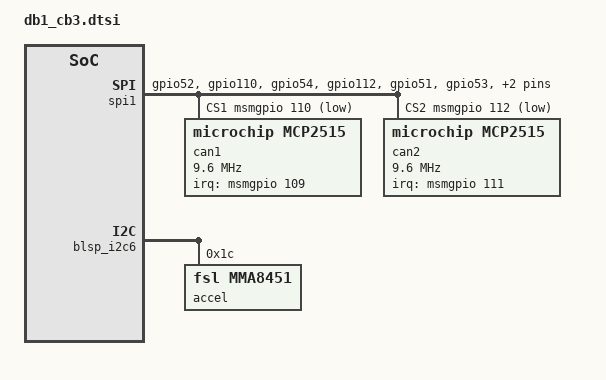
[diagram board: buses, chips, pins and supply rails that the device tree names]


/* CB3 expansion board on 50w connector */

/* interrupt pins for CAN ICs */
&msmgpio {

	/* CAN1 INT voltage shifter */
	can1_int_vs: can1_int_vs {
		pinmux {
			function = "gpio";
			pins = "gpio51";
		};
		pinconf {
			pins = "gpio51";
			drive-strength = <8>;
			output-low; /* B->A: low = input */
		};
	};

	/* CAN1 INT */
	can1_int: can1_int {
		pinmux {
			function = "gpio";
			pins = "gpio109";
		};
		pinconf {
			pins = "gpio109";
			drive-strength = <8>;
			input-enable;
			bias-pull-up;
		};
	};

	/* CAN1 Chip Select voltage shifter */
	can1_cs_vs: can1_cs_vs {
		pinmux {
			function = "gpio";
			pins = "gpio52";
		};
		pinconf {
			pins = "gpio52";
			drive-strength = <8>;
			output-high; /* A->B: high = output */
		};
	};


	/* CAN1 Chip Select CS# */
	can1_cs: can1_cs {
		pinmux {
			function = "gpio";
			pins = "gpio110";
		};
		pinconf {
			pins = "gpio110";
			drive-strength = <8>;
			output-high; /* H: unselected, L: selected */ 
		};
	};


	/* CAN2 INT voltage shifter */
	can2_int_vs: can2_int_vs {
		pinmux {
			function = "gpio";
			pins = "gpio53";
		};
		pinconf {
			pins = "gpio53";
			drive-strength = <8>;
			output-low; /* B->A: low = input */
		};
	};

	/* CAN2 INT */
	can2_int: can2_int {
		pinmux {
			function = "gpio";
			pins = "gpio111";
		};
		pinconf {
			pins = "gpio111";
			drive-strength = <8>;
			input-enable;
			bias-pull-up;
		};
	};

	/* CAN2 Chip Select voltage shifter */
	can2_cs_vs: can2_cs_vs {
		pinmux {
			function = "gpio";
			pins = "gpio54";
		};
		pinconf {
			pins = "gpio54";
			drive-strength = <8>;
			output-high; /* A->B: high = output */
		};
	};

	/* CAN2 Chip Select CS# */
	can2_cs: can2_cs {
		pinmux {
			function = "gpio";
			pins = "gpio112";
		};
		pinconf {
			pins = "gpio112";
			drive-strength = <8>;
			output-high; /* H: unselected, L: selected */ 
		};
	};

};

&spi1 {
	num-cs = <3>;
	cs-gpios =  <&msmgpio 10 GPIO_ACTIVE_LOW>,  /* resistive touch screen */
				<&msmgpio 110 GPIO_ACTIVE_LOW>, /* CAN IC1 */
				<&msmgpio 112 GPIO_ACTIVE_LOW>; /* CAN IC2 */

	/*  It looks like the hardware can lock to certain frequencies only,
		and choses a higher frequency than the one that is specified here.
		The maximum the CAN chip supports is 10MHz.
	 */
	spi-max-frequency = <9600000>;

	/* set up interrupt pins and the direction of level shifters */
	pinctrl-names = "default";
	pinctrl-0 = <&spi3_default &can1_cs_vs &can1_cs &can2_cs_vs &can2_cs &can1_int_vs &can2_int_vs &can1_int &can2_int>;

	/* CB3 board on 50w connector: CAN IC1 */
	can1: can@1 {
		compatible = "microchip,mcp2515";
		reg = <1>;
		clocks = <&can_clk>;
		interrupt-parent = <&msmgpio>;
		interrupts = <109 GPIO_ACTIVE_LOW>;
		spi-max-frequency = <9600000>;
		status = "okay";
	};

	/* CB3 board on 50w connector: CAN IC3 */
	can2: can@2 {
		compatible = "microchip,mcp2515";
		reg = <2>;
		clocks = <&can_clk>;
		interrupt-parent = <&msmgpio>;
		interrupts = <111 GPIO_ACTIVE_LOW>;
		spi-max-frequency = <9600000>;
		status = "okay";
	};
				
};

/* MMA8451Q Accelerometer on I2C bus 1*/
&blsp_i2c6 {

	/* CB3 board on 50w connector: U1 */
	accel: mma8451q@1c {
		compatible = "fsl,mma8451";
		reg = <0x1c>;
		status = "okay";
	};
};



